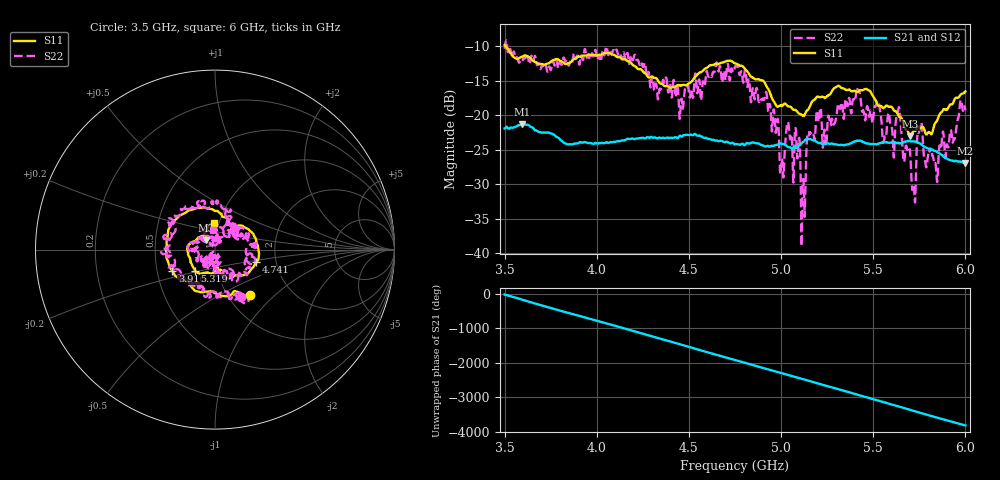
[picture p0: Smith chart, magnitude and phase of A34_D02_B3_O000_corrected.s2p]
! Created with skrf 1.9.0 (http://scikit-rf.org).
# Hz S RI R 50.0
!freq ReS11 ImS11 ReS21 ImS21 ReS12 ImS12 ReS22 ImS22
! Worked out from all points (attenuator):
!   1601 points, 3.5 GHz to 6 GHz, reference 50 ohm
!   highest |S21| = -21.32 dB at 3.594 GHz (marker M1); lowest = -26.9 dB at 6 GHz (marker M2)
!   lowest |S11| = -23.0 dB at 5.702 GHz (marker M3), VSWR 1.15, Z = 45.2 + j4.7 ohm
!   |S11| at or under -10 dB: 3.505 GHz to end of sweep
!   |S22| runs from -39.0 to -9.2 dB; largest |S21 - S12| = 0.00097
!   S11 on the Smith chart (normalised r, x): 3.5 GHz: 1.26, -0.72; 3.916 GHz: 0.60, -0.16; 4.741 GHz: 1.58, -0.24; 5.319 GHz: 0.78, -0.19; 6 GHz: 0.94, +0.29
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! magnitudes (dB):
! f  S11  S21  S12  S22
! 3.5 GHz  -9.8  -21.9  -21.9  -10.4
! 3.594 GHz  -11.5  -21.3  -21.3  -12.3
! 3.916 GHz  -11.5  -24.0  -23.9  -11.4
! 3.917 GHz  -11.5  -24.0  -24.0  -11.4
! 4.213 GHz  -13.0  -23.4  -23.4  -11.8
! 4.334 GHz  -15.1  -23.3  -23.2  -17.4
! 4.741 GHz  -12.4  -24.0  -24.1  -13.8
! 4.75 GHz  -12.5  -24.2  -24.2  -13.0
! 4.928 GHz  -16.1  -24.4  -24.4  -19.1
! 5.005 GHz  -18.6  -24.1  -24.2  -26.3
! 5.034 GHz  -18.7  -24.6  -24.5  -21.2
! 5.088 GHz  -19.5  -24.6  -24.6  -26.2
! 5.12 GHz  -20.1  -23.9  -23.8  -29.2
! 5.167 GHz  -18.1  -23.5  -23.5  -22.9
! 5.319 GHz  -15.8  -24.3  -24.3  -19.1
! 5.584 GHz  -18.8  -24.0  -24.0  -19.6
! 5.638 GHz  -20.1  -24.0  -24.0  -18.9
! 5.702 GHz  -23.0  -23.8  -23.8  -25.9
! 5.72 GHz  -22.3  -23.8  -23.8  -30.0
! 5.753 GHz  -21.8  -24.1  -24.0  -21.9
! 5.842 GHz  -21.0  -25.2  -25.2  -28.3
! 6 GHz  -16.6  -26.9  -26.9  -19.3
